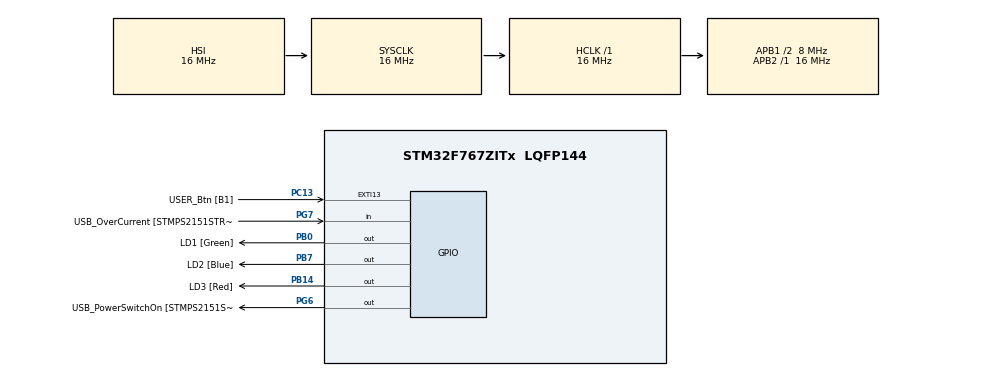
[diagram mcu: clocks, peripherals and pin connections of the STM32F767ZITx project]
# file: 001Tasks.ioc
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Mcu.Family=STM32F7
Mcu.Name=STM32F767ZITx
Mcu.Package=LQFP144
NVIC.PriorityGroup=NVIC_PRIORITYGROUP_4
NVIC.TIM6_DAC_IRQn=true\:15\:0\:false\:false\:true\:false\:true\:true
NVIC.TimeBase=TIM6_DAC_IRQn
NVIC.TimeBaseIP=TIM6
PA1.GPIO_Label=RMII_REF_CLK [LAN8742A-CZ-TR_REFCLK0]
PA1.Signal=ETH_REF_CLK
PA10.GPIO_Label=USB_ID
PA10.Signal=USB_OTG_FS_ID
PA11.GPIO_Label=USB_DM
PA11.Signal=USB_OTG_FS_DM
PA12.GPIO_Label=USB_DP
PA12.Signal=USB_OTG_FS_DP
PA13.GPIO_Label=TMS
PA13.Signal=SYS_JTMS-SWDIO
PA14.GPIO_Label=TCK
PA14.Signal=SYS_JTCK-SWCLK
PA2.GPIO_Label=RMII_MDIO [LAN8742A-CZ-TR_MDIO]
PA2.Signal=ETH_MDIO
PA7.GPIO_Label=RMII_CRS_DV [LAN8742A-CZ-TR_CRS_DV]
PA7.Signal=ETH_CRS_DV
PA8.GPIO_Label=USB_SOF [TP1]
PA8.Signal=USB_OTG_FS_SOF
PA9.GPIO_Label=USB_VBUS
PA9.Signal=USB_OTG_FS_VBUS
PB0.GPIO_Label=LD1 [Green]
PB0.Signal=GPIO_Output
PB13.GPIO_Label=RMII_TXD1 [LAN8742A-CZ-TR_TXD1]
PB13.Signal=ETH_TXD1
PB14.GPIO_Label=LD3 [Red]
PB14.Signal=GPIO_Output
PB3.GPIO_Label=SW0
PB3.Signal=SYS_JTDO-SWO
PB7.GPIO_Label=LD2 [Blue]
PB7.Signal=GPIO_Output
PC1.GPIO_Label=RMII_MDC [LAN8742A-CZ-TR_MDC]
PC1.Signal=ETH_MDC
PC13.GPIO_Label=USER_Btn [B1]
PC13.Signal=GPXTI13
PC14/OSC32_IN.Signal=RCC_OSC32_IN
PC15/OSC32_OUT.Signal=RCC_OSC32_OUT
PC4.GPIO_Label=RMII_RXD0 [LAN8742A-CZ-TR_RXD0]
PC4.Signal=ETH_RXD0
PC5.GPIO_Label=RMII_RXD1 [LAN8742A-CZ-TR_RXD1]
PC5.Signal=ETH_RXD1
PD8.GPIO_Label=STLK_RX [STM32F103CBT6_PA3]
PD8.Signal=USART3_TX
PD9.GPIO_Label=STLK_TX [STM32F103CBT6_PA2]
PD9.Signal=USART3_RX
PG11.GPIO_Label=RMII_TX_EN [LAN8742A-CZ-TR_TXEN]
PG11.Signal=ETH_TX_EN
PG13.GPIO_Label=RMII_TXD0 [LAN8742A-CZ-TR_TXD0]
PG13.Signal=ETH_TXD0
PG6.GPIO_Label=USB_PowerSwitchOn [STMPS2151STR_EN]
PG6.Signal=GPIO_Output
PG7.GPIO_Label=USB_OverCurrent [STMPS2151STR_FAULT]
PG7.Signal=GPIO_Input
PH0/OSC_IN.GPIO_Label=MCO [STM32F103CBT6_PA8]
PH0/OSC_IN.Signal=RCC_OSC_IN
PH1/OSC_OUT.Signal=RCC_OSC_OUT
ProjectManager.HeapSize=0x200
ProjectManager.StackSize=0x400
ProjectManager.TargetToolchain=STM32CubeIDE
RCC.48MHZClocksFreq_Value=24000000
RCC.AHBFreq_Value=16000000
RCC.APB1CLKDivider=RCC_HCLK_DIV2
RCC.APB1Freq_Value=8000000
RCC.APB1TimFreq_Value=16000000
RCC.APB2Freq_Value=16000000
RCC.APB2TimFreq_Value=16000000
RCC.CortexFreq_Value=16000000
RCC.HCLKFreq_Value=16000000
RCC.HSE_VALUE=16000000
RCC.HSI_VALUE=16000000
RCC.LSE_VALUE=32768
RCC.PLLMUL=RCC_PLL_MUL9
RCC.PRESCALERUSB=RCC_USBCLKSOURCE_PLL_DIV1_5
RCC.SYSCLKFreq_VALUE=16000000
RCC.SYSCLKSourceVirtual=RCC_SYSCLKSOURCE_PLLCLK
RCC.USBFreq_Value=96000000
RCC.VCOOutputFreq_Value=192000000
VP_SYS_VS_tim6.Mode=TIM6
board=NUCLEO-F767ZI

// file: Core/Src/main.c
/* USER CODE BEGIN Header */
/**
  ******************************************************************************
  * @file           : main.c
  * @brief          : Main program body
  ******************************************************************************
  * @attention
  *
  * Copyright (c) 2024 STMicroelectronics.
  * All rights reserved.
  *
  * This software is licensed under terms that can be found in the LICENSE file
  * in the root directory of this software component.
  * If no LICENSE file comes with this software, it is provided AS-IS.
  *
  ******************************************************************************
  */
/* USER CODE END Header */
#include "main.h"

/* USER CODE BEGIN Includes */
#include "FreeRTOS.h"
#include "task.h"
#include <stdio.h>
/* USER CODE END Includes */

/* USER CODE BEGIN PV */
#define DWT_CTRL	(*(volatile uint32_t*)0xE0001000)
/* USER CODE END PV */

void SystemClock_Config(void);
static void MX_GPIO_Init(void);
/* USER CODE BEGIN PFP */
static void task1_handler(void* parameters);
static void task2_handler(void* parameters);

/* USER CODE END PFP */

int main(void)
{

  /* MCU Configuration--------------------------------------------------------*/

  /* Reset of all peripherals, Initializes the Flash interface and the Systick. */
  HAL_Init();

  /* USER CODE BEGIN Init */
  TaskHandle_t task1_handle;
  TaskHandle_t task2_handle;

  BaseType_t status;
  /* USER CODE END Init */

  /* Configure the system clock */
  SystemClock_Config();

  /* Initialize all configured peripherals */
  MX_GPIO_Init();
  /* USER CODE BEGIN 2 */

  // Enable the CYCCNT counter
  DWT_CTRL |= (1 << 0);

  // Start the SEGGER recorder
  SEGGER_SYSVIEW_Conf();
  SEGGER_SYSVIEW_Start();

  printf("BEGINNING RTOS!\n");
  status = xTaskCreate(task1_handler, "Task-1", 200, "Hello World from Task-1", 2, &task1_handle);
  configASSERT(status == pdPASS);

  status = xTaskCreate(task2_handler, "Task-2", 200, "Hello World from Task-2", 2, &task2_handle);
  configASSERT(status == pdPASS);

  // Start the freeRTOS scheduler
  vTaskStartScheduler();

  //if the control comes here, then the launch of the scheduler has failed due to insufficient memory in heap
  printf("INSUFFUCIENT MEMORY IN HEAP!\n");

  /* USER CODE END 2 */

  /* Infinite loop */
  while (1)
  {

  }
}

void SystemClock_Config(void)
{
  RCC_OscInitTypeDef RCC_OscInitStruct = {0};
  RCC_ClkInitTypeDef RCC_ClkInitStruct = {0};

  /** Configure the main internal regulator output voltage
  */
  __HAL_RCC_PWR_CLK_ENABLE();
  __HAL_PWR_VOLTAGESCALING_CONFIG(PWR_REGULATOR_VOLTAGE_SCALE3);

  /** Initializes the RCC Oscillators according to the specified parameters
  * in the RCC_OscInitTypeDef structure.
  */
  RCC_OscInitStruct.OscillatorType = RCC_OSCILLATORTYPE_HSI;
  RCC_OscInitStruct.HSIState = RCC_HSI_ON;
  RCC_OscInitStruct.HSICalibrationValue = RCC_HSICALIBRATION_DEFAULT;
  RCC_OscInitStruct.PLL.PLLState = RCC_PLL_NONE;
  if (HAL_RCC_OscConfig(&RCC_OscInitStruct) != HAL_OK)
  {
    Error_Handler();
  }

  /** Initializes the CPU, AHB and APB buses clocks
  */
  RCC_ClkInitStruct.ClockType = RCC_CLOCKTYPE_HCLK|RCC_CLOCKTYPE_SYSCLK
                              |RCC_CLOCKTYPE_PCLK1|RCC_CLOCKTYPE_PCLK2;
  RCC_ClkInitStruct.SYSCLKSource = RCC_SYSCLKSOURCE_HSI;
  RCC_ClkInitStruct.AHBCLKDivider = RCC_SYSCLK_DIV1;
  RCC_ClkInitStruct.APB1CLKDivider = RCC_HCLK_DIV2;
  RCC_ClkInitStruct.APB2CLKDivider = RCC_HCLK_DIV1;

  if (HAL_RCC_ClockConfig(&RCC_ClkInitStruct, FLASH_LATENCY_0) != HAL_OK)
  {
    Error_Handler();
  }
}

static void MX_GPIO_Init(void)
{
  GPIO_InitTypeDef GPIO_InitStruct = {0};

  /* GPIO Ports Clock Enable */
  __HAL_RCC_GPIOC_CLK_ENABLE();
  __HAL_RCC_GPIOH_CLK_ENABLE();
  __HAL_RCC_GPIOA_CLK_ENABLE();
  __HAL_RCC_GPIOB_CLK_ENABLE();
  __HAL_RCC_GPIOD_CLK_ENABLE();
  __HAL_RCC_GPIOG_CLK_ENABLE();

  /*Configure GPIO pin Output Level */
  HAL_GPIO_WritePin(GPIOB, LD1_Pin|LD3_Pin|LD2_Pin, GPIO_PIN_RESET);

  /*Configure GPIO pin Output Level */
  HAL_GPIO_WritePin(USB_PowerSwitchOn_GPIO_Port, USB_PowerSwitchOn_Pin, GPIO_PIN_RESET);

  /*Configure GPIO pin : USER_Btn_Pin */
  GPIO_InitStruct.Pin = USER_Btn_Pin;
  GPIO_InitStruct.Mode = GPIO_MODE_IT_RISING;
  GPIO_InitStruct.Pull = GPIO_NOPULL;
  HAL_GPIO_Init(USER_Btn_GPIO_Port, &GPIO_InitStruct);

  /*Configure GPIO pins : RMII_MDC_Pin RMII_RXD0_Pin RMII_RXD1_Pin */
  GPIO_InitStruct.Pin = RMII_MDC_Pin|RMII_RXD0_Pin|RMII_RXD1_Pin;
  GPIO_InitStruct.Mode = GPIO_MODE_AF_PP;
  GPIO_InitStruct.Pull = GPIO_NOPULL;
  GPIO_InitStruct.Speed = GPIO_SPEED_FREQ_VERY_HIGH;
  GPIO_InitStruct.Alternate = GPIO_AF11_ETH;
  HAL_GPIO_Init(GPIOC, &GPIO_InitStruct);

  /*Configure GPIO pins : RMII_REF_CLK_Pin RMII_MDIO_Pin RMII_CRS_DV_Pin */
  GPIO_InitStruct.Pin = RMII_REF_CLK_Pin|RMII_MDIO_Pin|RMII_CRS_DV_Pin;
  GPIO_InitStruct.Mode = GPIO_MODE_AF_PP;
  GPIO_InitStruct.Pull = GPIO_NOPULL;
  GPIO_InitStruct.Speed = GPIO_SPEED_FREQ_VERY_HIGH;
  GPIO_InitStruct.Alternate = GPIO_AF11_ETH;
  HAL_GPIO_Init(GPIOA, &GPIO_InitStruct);

  /*Configure GPIO pins : LD1_Pin LD3_Pin LD2_Pin */
  GPIO_InitStruct.Pin = LD1_Pin|LD3_Pin|LD2_Pin;
  GPIO_InitStruct.Mode = GPIO_MODE_OUTPUT_PP;
  GPIO_InitStruct.Pull = GPIO_NOPULL;
  GPIO_InitStruct.Speed = GPIO_SPEED_FREQ_LOW;
  HAL_GPIO_Init(GPIOB, &GPIO_InitStruct);

  /*Configure GPIO pin : RMII_TXD1_Pin */
  GPIO_InitStruct.Pin = RMII_TXD1_Pin;
  GPIO_InitStruct.Mode = GPIO_MODE_AF_PP;
  GPIO_InitStruct.Pull = GPIO_NOPULL;
  GPIO_InitStruct.Speed = GPIO_SPEED_FREQ_VERY_HIGH;
  GPIO_InitStruct.Alternate = GPIO_AF11_ETH;
  HAL_GPIO_Init(RMII_TXD1_GPIO_Port, &GPIO_InitStruct);

  /*Configure GPIO pins : STLK_RX_Pin STLK_TX_Pin */
  GPIO_InitStruct.Pin = STLK_RX_Pin|STLK_TX_Pin;
  GPIO_InitStruct.Mode = GPIO_MODE_AF_PP;
  GPIO_InitStruct.Pull = GPIO_NOPULL;
  GPIO_InitStruct.Speed = GPIO_SPEED_FREQ_VERY_HIGH;
  GPIO_InitStruct.Alternate = GPIO_AF7_USART3;
  HAL_GPIO_Init(GPIOD, &GPIO_InitStruct);

  /*Configure GPIO pin : USB_PowerSwitchOn_Pin */
  GPIO_InitStruct.Pin = USB_PowerSwitchOn_Pin;
  GPIO_InitStruct.Mode = GPIO_MODE_OUTPUT_PP;
  GPIO_InitStruct.Pull = GPIO_NOPULL;
  GPIO_InitStruct.Speed = GPIO_SPEED_FREQ_LOW;
  HAL_GPIO_Init(USB_PowerSwitchOn_GPIO_Port, &GPIO_InitStruct);

  /*Configure GPIO pin : USB_OverCurrent_Pin */
  GPIO_InitStruct.Pin = USB_OverCurrent_Pin;
  GPIO_InitStruct.Mode = GPIO_MODE_INPUT;
  GPIO_InitStruct.Pull = GPIO_NOPULL;
  HAL_GPIO_Init(USB_OverCurrent_GPIO_Port, &GPIO_InitStruct);

  /*Configure GPIO pins : USB_SOF_Pin USB_ID_Pin USB_DM_Pin USB_DP_Pin */
  GPIO_InitStruct.Pin = USB_SOF_Pin|USB_ID_Pin|USB_DM_Pin|USB_DP_Pin;
  GPIO_InitStruct.Mode = GPIO_MODE_AF_PP;
  GPIO_InitStruct.Pull = GPIO_NOPULL;
  GPIO_InitStruct.Speed = GPIO_SPEED_FREQ_VERY_HIGH;
  GPIO_InitStruct.Alternate = GPIO_AF10_OTG_FS;
  HAL_GPIO_Init(GPIOA, &GPIO_InitStruct);

  /*Configure GPIO pin : USB_VBUS_Pin */
  GPIO_InitStruct.Pin = USB_VBUS_Pin;
  GPIO_InitStruct.Mode = GPIO_MODE_INPUT;
  GPIO_InitStruct.Pull = GPIO_NOPULL;
  HAL_GPIO_Init(USB_VBUS_GPIO_Port, &GPIO_InitStruct);

  /*Configure GPIO pins : RMII_TX_EN_Pin RMII_TXD0_Pin */
  GPIO_InitStruct.Pin = RMII_TX_EN_Pin|RMII_TXD0_Pin;
  GPIO_InitStruct.Mode = GPIO_MODE_AF_PP;
  GPIO_InitStruct.Pull = GPIO_NOPULL;
  GPIO_InitStruct.Speed = GPIO_SPEED_FREQ_VERY_HIGH;
  GPIO_InitStruct.Alternate = GPIO_AF11_ETH;
  HAL_GPIO_Init(GPIOG, &GPIO_InitStruct);

}

/* USER CODE BEGIN 4 */

static void task1_handler(void* parameters)
{
	char msg[100];
	while (1)
	{
		printf("%s\n", (char*)parameters);
		snprintf(msg, 100, "%s\n", (char*)parameters);
		SEGGER_SYSVIEW_PrintfTarget(msg);
		taskYIELD();
	}
}

static void task2_handler(void* parameters)
{
	char msg[100];
	while (1)
	{
		printf("%s\n", (char*)parameters);
		snprintf(msg, 100, "%s\n", (char*)parameters);
		SEGGER_SYSVIEW_PrintfTarget(msg);
		taskYIELD();
	}
}

/* USER CODE END 4 */

void HAL_TIM_PeriodElapsedCallback(TIM_HandleTypeDef *htim)
{
  if (htim->Instance == TIM6) {
    HAL_IncTick();
  }
}

void Error_Handler(void)
{
  __disable_irq();
  while (1)
  {
  }
}
